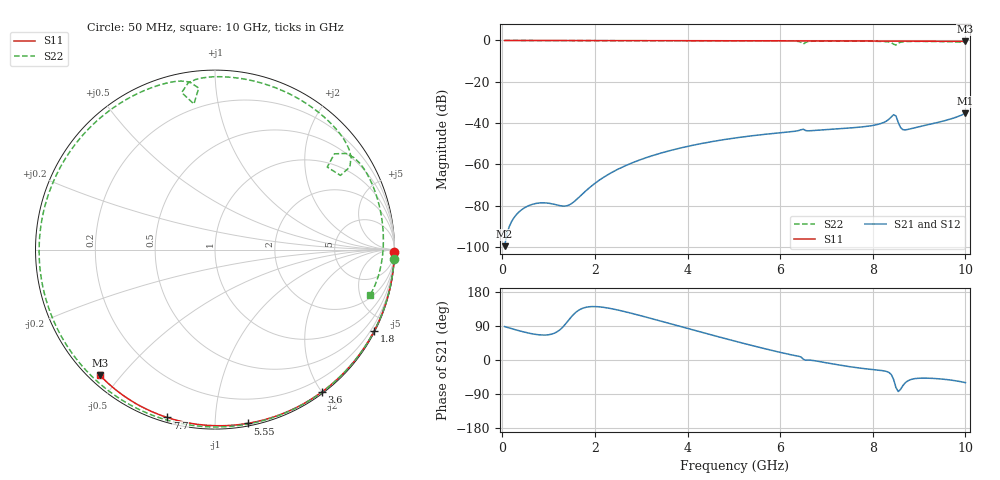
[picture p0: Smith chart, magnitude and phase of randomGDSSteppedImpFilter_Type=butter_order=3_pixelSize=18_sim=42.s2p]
! freq	dB(S11)	phase(S11)	dB(S12)	phase(S12)
!  dB(S21)	phase(S21)	dB(S22)	phase(S22)
!S-par simulation data
#  GHz  S  DB  R 50
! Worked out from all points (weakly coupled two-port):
!   200 points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, 50 MHz to 10 GHz, reference 50 ohm
!   highest |S21| = -35.28 dB at 10 GHz (marker M1); lowest = -99.6 dB at 50 MHz (marker M2)
!   lowest |S11| = -0.5 dB at 10 GHz (marker M3), VSWR 38.45, Z = 1.55 - j22 ohm
!   |S11| at or under -10 dB: nowhere
!   |S22| runs from -2.2 to 0.0 dB; largest |S21 - S12| = 0
!   S11 on the Smith chart (normalised r, x): 50 MHz: open; 1.8 GHz: 0.04, -4.13; 3.6 GHz: 0.02, -2.00; 5.55 GHz: 0.02, -1.20; 7.7 GHz: 0.02, -0.75; 10 GHz: 0.03, -0.44
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0.05  -0.00 -0.8  -99.62 88.2  -99.62 88.2  -0.00 -3.0
0.45  -0.01 -6.9  -81.47 74.4  -81.47 74.4  -0.03 -26.3
0.95  -0.02 -14.5  -78.70 66.0  -78.70 66.0  -0.07 -54.2
1.4  -0.03 -21.2  -80.01 100.3  -80.01 100.3  -0.09 -77.5
1.75  -0.03 -26.5  -73.95 137.1  -73.95 137.1  -0.11 -94.3
1.8  -0.03 -27.2  -72.92 138.9  -72.92 138.9  -0.11 -96.6
2.45  -0.05 -36.8  -62.90 133.1  -62.90 133.1  -0.13 -124.6
3.4  -0.07 -50.4  -54.70 103.4  -54.70 103.4  -0.16 -160.2
3.6  -0.07 -53.2  -53.46 96.7  -53.46 96.7  -0.16 -167.1
4.3  -0.09 -62.8  -49.93 73.3  -49.93 73.3  -0.19 169.4
5.05  -0.11 -72.9  -47.16 48.9  -47.16 48.9  -0.22 145.2
5.55  -0.13 -79.4  -45.75 33.4  -45.75 33.4  -0.24 129.1
6.3  -0.16 -88.9  -44.01 12.2  -44.01 12.2  -0.33 103.4
6.5  -0.17 -91.4  -42.99 2.2  -42.99 2.2  -1.73 98.2
6.7  -0.18 -93.8  -43.64 -1.1  -43.64 -1.1  -0.37 94.4
7.7  -0.24 -105.9  -42.01 -21.0  -42.01 -21.0  -0.35 59.4
8.35  -0.29 -113.6  -38.14 -32.9  -38.14 -32.9  -0.76 34.1
8.5  -0.30 -115.3  -36.55 -72.5  -36.55 -72.5  -2.20 36.3
8.6  -0.31 -116.5  -42.20 -77.4  -42.20 -77.4  -0.86 36.2
8.7  -0.32 -117.6  -43.31 -60.3  -43.31 -60.3  -0.55 30.9
9.35  -0.38 -125.1  -39.98 -48.9  -39.98 -48.9  -0.51 6.7
10  -0.45 -132.5  -35.28 -59.7  -35.28 -59.7  -0.92 -16.4
